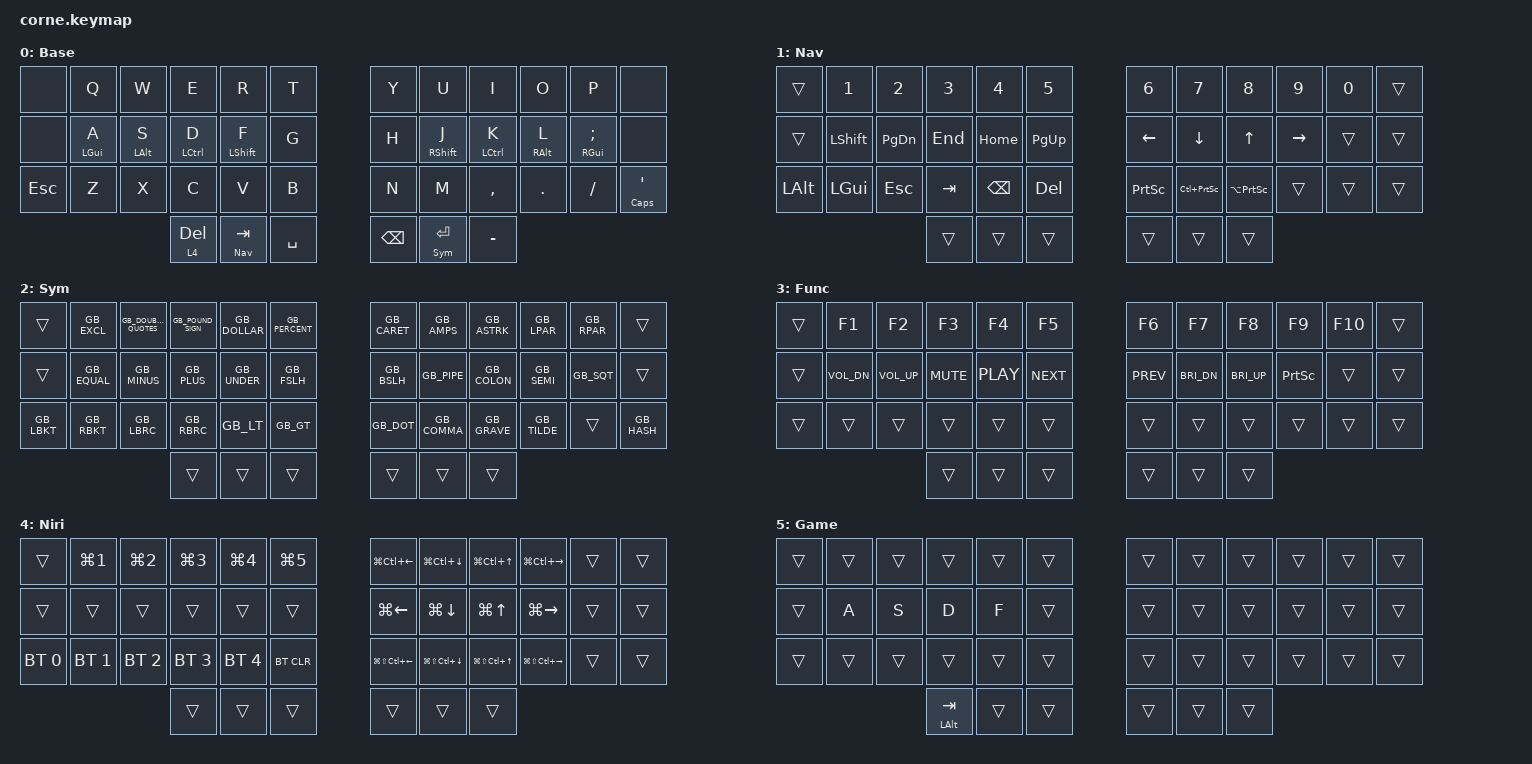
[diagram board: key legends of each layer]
/*
 * Corne (42 keys) - derived from totem.keymap.
 *
 * Same layers and behaviours as the TOTEM. Differences:
 *  - outer column, rows 1-2: spare (&none on Base, &trans elsewhere)
 *  - ESC and CAPS/APOSTROPHE on the outer column of row 3, as on the TOTEM
 *  - combo key-positions renumbered for the 42-key matrix
 *
 * Keep in step with totem.keymap by hand (see readme).
 */

#include "keys_en_gb.h"
#include <behaviors.dtsi>
#include <dt-bindings/zmk/bt.h>
#include <dt-bindings/zmk/keys.h>

#define Base        0
#define Nav         1
#define Sym         2
#define Func        3

&mt {
    quick-tap-ms = <100>;
    global-quick-tap;
    flavor = "tap-preferred";
    tapping-term-ms = <170>;
};

&lt {
    tapping-term-ms = <240>;
    flavor = "balanced";
    quick-tap-ms = <175>;
};

/ {
    behaviors {
        hm: homerow_mods {
            compatible = "zmk,behavior-hold-tap";
            label = "HOMEROW_MODS";
            #binding-cells = <2>;
            flavor = "tap-preferred";
            tapping-term-ms = <150>;
            quick-tap-ms = <100>;
            global-quick-tap;
            bindings = <&kp>, <&kp>;
        };

        keepalive: keepalive {
            compatible = "zmk,behavior-keepalive";
            #binding-cells = <1>;
            keycode = <F15>;
            interval-ms = <240000>;
        };
    };

    combos {
        compatible = "zmk,combos";

        Game {
            bindings = <&tog 5>;
            key-positions = <36 41>;
        };

        KeepAliveOn {
            bindings = <&keepalive 1>;
            key-positions = <1 10>;
            timeout-ms = <50>;
        };

        KeepAliveOff {
            bindings = <&keepalive 0>;
            key-positions = <25 34>;
            timeout-ms = <50>;
        };
    };

    keymap {
        compatible = "zmk,keymap";

        Base {
            display-name = "Base";
            bindings = <
            &none       &kp Q       &kp W       &kp E         &kp R        &kp T      &kp Y          &kp U          &kp I        &kp O       &kp P               &none
            &none       &hm LGUI A  &hm LALT S  &hm LCTRL D   &hm LSHFT F  &kp G      &kp H          &hm RSHFT J    &hm LCTRL K  &hm RALT L  &hm RGUI SEMICOLON  &none
            &kp ESCAPE  &kp Z       &kp X       &kp C         &kp V        &kp B      &kp N          &kp M          &kp COMMA    &kp DOT     &kp SLASH           &mt CAPS APOSTROPHE
                                                &lt 4 DELETE  &lt Nav TAB  &kp SPACE  &kp BACKSPACE  &lt Sym ENTER  &kp MINUS
            >;
        };

        Nav {
            display-name = "Nav";
            bindings = <
            &trans        &kp N1          &kp N2      &kp N3   &kp N4    &kp N5     &kp N6           &kp N7               &kp N8               &kp N9     &kp N0  &trans
            &trans        &kp LEFT_SHIFT  &kp PG_DN   &kp END  &kp HOME  &kp PG_UP  &kp LEFT         &kp DOWN             &kp UP               &kp RIGHT  &trans  &trans
            &kp LEFT_ALT  &kp LEFT_GUI    &kp ESCAPE  &kp TAB  &kp BSPC  &kp DEL    &kp PRINTSCREEN  &kp LC(PRINTSCREEN)  &kp LA(PRINTSCREEN)  &trans     &trans  &trans
                                                      &trans   &trans    &trans     &trans           &trans               &trans
            >;
        };

        Sym {
            display-name = "Sym";
            bindings = <
            &trans       &kp GB_EXCL   &kp GB_DOUBLE_QUOTES  &kp GB_POUND_SIGN  &kp GB_DOLLAR  &kp GB_PERCENT  &kp GB_CARET  &kp GB_AMPS   &kp GB_ASTRK  &kp GB_LPAR   &kp GB_RPAR  &trans
            &trans       &kp GB_EQUAL  &kp GB_MINUS          &kp GB_PLUS        &kp GB_UNDER   &kp GB_FSLH     &kp GB_BSLH   &kp GB_PIPE   &kp GB_COLON  &kp GB_SEMI   &kp GB_SQT   &trans
            &kp GB_LBKT  &kp GB_RBKT   &kp GB_LBRC           &kp GB_RBRC        &kp GB_LT      &kp GB_GT       &kp GB_DOT    &kp GB_COMMA  &kp GB_GRAVE  &kp GB_TILDE  &trans       &kp GB_HASH
                                                             &trans             &trans         &trans          &trans        &trans        &trans
            >;
        };

        Func {
            display-name = "Func";
            bindings = <
            &trans  &kp F1        &kp F2        &kp F3      &kp F4      &kp F5      &kp F6      &kp F7        &kp F8        &kp F9           &kp F10  &trans
            &trans  &kp C_VOL_DN  &kp C_VOL_UP  &kp C_MUTE  &kp C_PLAY  &kp C_NEXT  &kp C_PREV  &kp C_BRI_DN  &kp C_BRI_UP  &kp PRINTSCREEN  &trans   &trans
            &trans  &trans        &trans        &trans      &trans      &trans      &trans      &trans        &trans        &trans           &trans   &trans
                                                &trans      &trans      &trans      &trans      &trans        &trans
            >;
        };

        Niri {
            bindings = <
            &trans        &kp LG(N1)    &kp LG(N2)    &kp LG(N3)    &kp LG(N4)    &kp LG(N5)  &kp LG(LC(LEFT))            &kp LG(LC(DOWN))            &kp LG(LC(UP))            &kp LG(LC(RIGHT))            &trans  &trans
            &trans        &trans        &trans        &trans        &trans        &trans      &kp LG(LEFT_ARROW)          &kp LG(DOWN_ARROW)          &kp LG(UP)                &kp LG(RIGHT)                &trans  &trans
            &bt BT_SEL 0  &bt BT_SEL 1  &bt BT_SEL 2  &bt BT_SEL 3  &bt BT_SEL 4  &bt BT_CLR  &kp LG(LS(LC(LEFT_ARROW)))  &kp LG(LS(LC(DOWN_ARROW)))  &kp LG(LS(LC(UP_ARROW)))  &kp LG(LS(LC(RIGHT_ARROW)))  &trans  &trans
                                                      &trans        &trans        &trans      &trans                      &trans                      &trans
            >;
        };

        Game {
            bindings = <
            &trans  &trans  &trans  &trans            &trans  &trans  &trans  &trans  &trans  &trans  &trans  &trans
            &trans  &kp A   &kp S   &kp D             &kp F   &trans  &trans  &trans  &trans  &trans  &trans  &trans
            &trans  &trans  &trans  &trans            &trans  &trans  &trans  &trans  &trans  &trans  &trans  &trans
                                    &mt LEFT_ALT TAB  &trans  &trans  &trans  &trans  &trans
            >;
        };
    };
};
